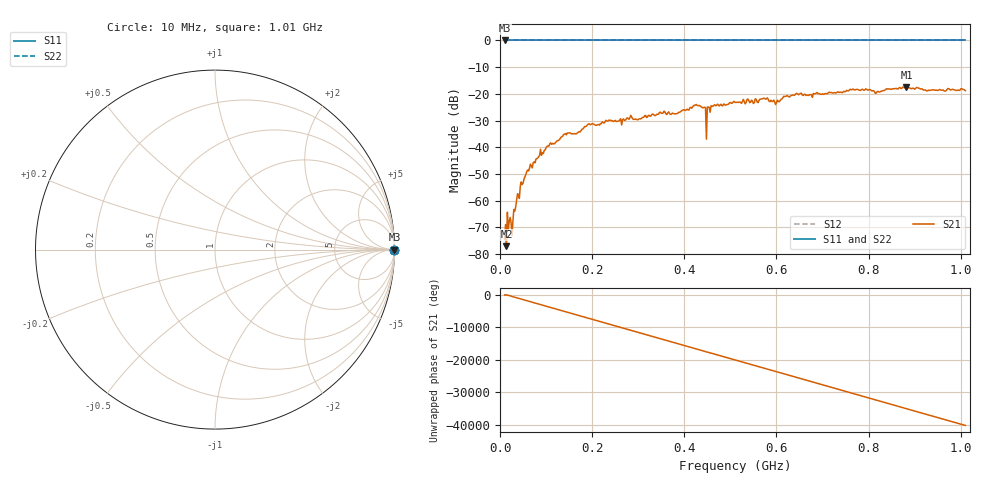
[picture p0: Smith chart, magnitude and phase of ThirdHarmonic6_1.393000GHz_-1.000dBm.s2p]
! 8/16/2025 3:53:28 PM
! C:\ANRITSUVNA\TEMP\TEMP.S2P
! CHANNEL.1
! TR.MEASUREMENT
! RAW.DATA
! RF.CORRECTION.OFF
! AVERAGING.OFF
! IF.BANDWIDTH: 5KHZ
! SWEEPTYPE:  FREQ.SWEEP(Linear)
! Reference Plane Port Info
! PORT:  PORT1  PORT2
! DISTANCE:  0  m  0  m
! TIME:  0  s  0  s
! PHASE.OFFSET:  0  deg.  0  deg.
! LOSS:  0  dB  0  dB
! REF.LOSS:  0  dB  0  dB
! REF.FREQ:  0  Hz  0  Hz
! Power Info
! POWER:  -20  dBm  -20  dBm
! EFF.POWER:  -20  dBm  -20  dBm
! SOURCE.ATTEN:  0  dB  0  dB
! TEST.ATTEN:  0  dB  0  dB
# GHZ S RI R 50.0
! FREQ.GHZ  S11RE  S11IM  S21RE  S21IM  S12RE  S12IM  S22RE  S22IM
!; PortSelection: Port_12
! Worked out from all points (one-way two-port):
!   501 points, 10 MHz to 1.01 GHz, reference 50 ohm
!   highest |S21| = -17.38 dB at 882 MHz (marker M1); lowest = -77.1 dB at 14 MHz (marker M2)
!   lowest |S11| = 0.0 dB at 10 MHz (marker M3)
!   |S11| at or under -10 dB: nowhere
!   |S22| runs from 0.0 to 0.0 dB; largest |S21 - S12| = 1.1
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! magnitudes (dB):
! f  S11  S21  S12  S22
! 10 MHz  0.0  -74.6  0.0  0.0
! 14 MHz  0.0  -77.1  0.0  0.0
! 20 MHz  0.0  -67.8  0.0  0.0
! 22 MHz  0.0  -66.3  0.0  0.0
! 28 MHz  0.0  -67.8  0.0  0.0
! 42 MHz  0.0  -59.2  0.0  0.0
! 62 MHz  0.0  -48.9  0.0  0.0
! 106 MHz  0.0  -39.6  0.0  0.0
! 178 MHz  0.0  -33.3  0.0  0.0
! 344 MHz  0.0  -27.7  0.0  0.0
! 382 MHz  0.0  -27.4  0.0  0.0
! 428 MHz  0.0  -24.4  0.0  0.0
! 452 MHz  0.0  -25.0  0.0  0.0
! 454 MHz  0.0  -25.0  0.0  0.0
! 462 MHz  0.0  -24.7  0.0  0.0
! 510 MHz  0.0  -23.2  0.0  0.0
! 602 MHz  0.0  -22.4  0.0  0.0
! 620 MHz  0.0  -21.0  0.0  0.0
! 678 MHz  0.0  -21.3  0.0  0.0
! 844 MHz  0.0  -18.2  0.0  0.0
! 882 MHz  0.0  -17.4  0.0  0.0
! 1.01 GHz  0.0  -18.8  0.0  0.0
